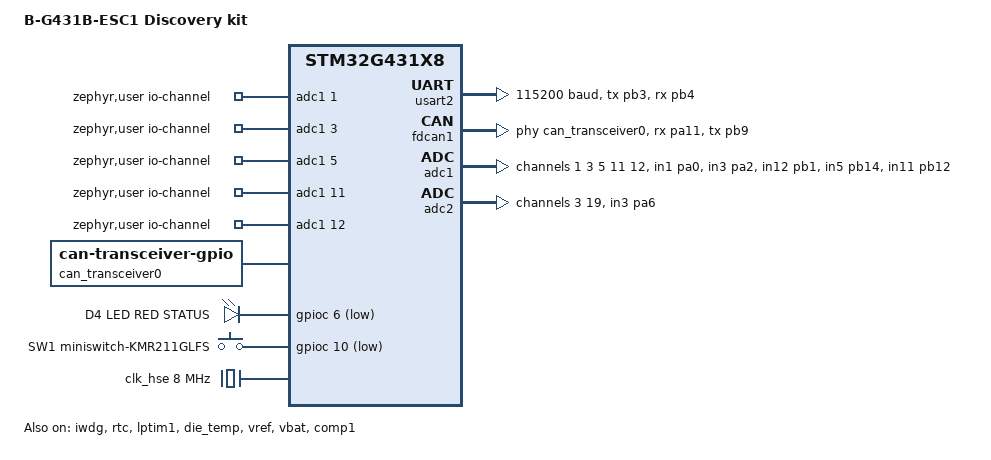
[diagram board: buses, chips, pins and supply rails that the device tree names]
/*
 * Copyright (c) 2024 Alexander Kozhinov <ak.alexander.kozhinov@gmail.com>
 * SPDX-License-Identifier: Apache-2.0
 */

/dts-v1/;
#include <st/g4/stm32g431X8.dtsi>
#include <st/g4/stm32g431c(6-8-b)tx-pinctrl.dtsi>
#include <zephyr/dt-bindings/input/input-event-codes.h>

/ {
	model = "B-G431B-ESC1 Discovery kit";
	compatible = "st,b-g431b-esc1";

	chosen {
		zephyr,sram = &sram0;
		zephyr,flash = &flash0;
		zephyr,console = &usart2;
		zephyr,canbus = &fdcan1;
	};

	zephyr,user {
		/* adjust channel number according to pinmux in board.dts */
		io-channels = <&adc1 1>, <&adc1 3>, <&adc1 5>, <&adc1 11>, <&adc1 12>;
	};

	can_transceiver0: can-phy0 {
		/* Generic GPIO controlled CAN transceiver. The board uses TCAN330 device.
		 * Add a specific binding later if required (no dedicated binding present).
		 */
		compatible = "can-transceiver-gpio";
		max-bitrate = <10000000>;
		#phy-cells = <0>;
	};

	leds {
		compatible = "gpio-leds";
		red_status_led: led4 {
			gpios = <&gpioc 6 GPIO_ACTIVE_LOW>;
			label = "D4 LED RED STATUS";
		};
	};

	gpio_keys {
		compatible = "gpio-keys";
		button: button0 {
			label = "SW1 miniswitch-KMR211GLFS";
			gpios = <&gpioc 10 (GPIO_ACTIVE_LOW | GPIO_PULL_UP)>;
			zephyr,code = <INPUT_KEY_0>;
		};
	};

	aliases {
		led0 = &red_status_led;
		sw0 = &button;
		watchdog0 = &iwdg;
		comp1 = &comp1;
		adc1 = &adc1;
		adc2 = &adc2;
		sensor0 = &die_temp;
		sensor1 = &vref;
		sensor2 = &vbat;
	};
};

&clk_hse {
	clock-frequency = <DT_FREQ_M(8)>;
	status = "okay";
};

&clk_lsi {
	status = "okay";
};

&pll {
	div-m = <1>;
	mul-n = <40>;
	div-p = <2>;
	div-q = <2>;
	div-r = <2>;
	clocks = <&clk_hse>;
	status = "okay";
};

&rcc {
	clocks = <&pll>;
	clock-frequency = <DT_FREQ_M(160)>;
	ahb-prescaler = <1>;
	apb1-prescaler = <1>;
	apb2-prescaler = <1>;
};

&iwdg {
	status = "okay";
};

&dma1 {
	status = "okay";
};

&dmamux1 {
	status = "okay";
};

&rtc {
	clocks = <&rcc STM32_CLOCK_BUS_APB1 0x00000400>,
		 <&rcc STM32_SRC_LSI RTC_SEL(2)>;
	status = "okay";
};

&usart2 {
	pinctrl-0 = <&usart2_tx_pb3 &usart2_rx_pb4>;
	pinctrl-names = "default";
	current-speed = <115200>;
	status = "okay";
};

&fdcan1 {
	pinctrl-0 = <&fdcan1_rx_pa11 &fdcan1_tx_pb9>;
	pinctrl-names = "default";
	clocks = <&rcc STM32_CLOCK(APB1, 25U)>,
			 <&rcc STM32_SRC_PLL_Q FDCAN_SEL(1)>;
	phys = <&can_transceiver0>;
	status = "okay";
};

stm32_lp_tick_source: &lptim1 {
	clocks = <&rcc STM32_CLOCK_BUS_APB1 0x80000000>,
	<&rcc STM32_SRC_LSI LPTIM1_SEL(1)>;
	status = "okay";
};

&die_temp {
	status = "okay";
};

&vref {
	status = "okay";
};

&vbat {
	status = "okay";
};

&pinctrl {
	/omit-if-no-ref/ comp1_p_in0_pa1: comp1_p_in0_pa1 {
		pinmux = <STM32_PINMUX('A', 1, ANALOG)>;
	};

	/omit-if-no-ref/ comp1_p_in1_pb1: comp1_p_in1_pb1 {
		pinmux = <STM32_PINMUX('B', 1, ANALOG)>;
	};
};

&comp1 {
	status = "okay";
	pinctrl-0 = <&comp1_p_in0_pa1>;
	pinctrl-names = "default";
	hysteresis = "NONE";
	positive-input = "IN0";
	negative-input = "VREF_INT_1_4";
	invert-output = "INVERTED";
	// st,blank-sel = "NONE";
	// st,lock-enable;
	// st,miller-effect-hold-enable;
};

&adc1 {
	dmas = <&dmamux1 0 5
		(
			STM32_DMA_MODE_CYCLIC |
			STM32_DMA_PERIPH_TO_MEMORY |
			STM32_DMA_PERIPH_NO_INC |
			STM32_DMA_PERIPH_16BITS |
			STM32_DMA_MEM_INC |
			STM32_DMA_MEM_16BITS |
			STM32_DMA_PRIORITY_VERY_HIGH
		)
		>;
	dma-names = "dmamux";

	pinctrl-0 = <
		&adc1_in1_pa0	/* bus_voltage */
		&adc1_in3_pa2	/* OpAmp1 Out - channel U shunt */
		&adc1_in12_pb1	/* OpAmp3 Out - channel W shunt */
		&adc1_in5_pb14	/* temperature */
		&adc1_in11_pb12	/* potentiometer */
		>;
	pinctrl-names = "default";
	st,adc-clock-source = "SYNC";
	st,adc-prescaler = <4>;
	st,adc-oversampler = "OVERSAMPLER_NONE";

	#address-cells = <1>;
	#size-cells = <0>;

	status = "okay";

	channel@1 {
		reg = <1>;
		zephyr,gain = "ADC_GAIN_1";
		zephyr,reference = "ADC_REF_INTERNAL";
		zephyr,acquisition-time = <ADC_ACQ_TIME(ADC_ACQ_TIME_TICKS, 48)>;
		zephyr,resolution = <12>;
		zephyr,vref-mv = <3300>;
	};

	channel@3 {
		reg = <3>;
		zephyr,gain = "ADC_GAIN_1";
		zephyr,reference = "ADC_REF_INTERNAL";
		zephyr,acquisition-time = <ADC_ACQ_TIME(ADC_ACQ_TIME_TICKS, 3)>;
		zephyr,resolution = <12>;
		zephyr,vref-mv = <3300>;
	};

	channel@5 {
		reg = <5>;
		zephyr,gain = "ADC_GAIN_1";
		zephyr,reference = "ADC_REF_INTERNAL";
		zephyr,acquisition-time = <ADC_ACQ_TIME(ADC_ACQ_TIME_TICKS, 48)>;
		zephyr,resolution = <12>;
		zephyr,vref-mv = <3300>;
	};

	channel@b {
		reg = <11>;
		zephyr,gain = "ADC_GAIN_1";
		zephyr,reference = "ADC_REF_INTERNAL";
		zephyr,acquisition-time = <ADC_ACQ_TIME(ADC_ACQ_TIME_TICKS, 48)>;
		zephyr,resolution = <12>;
		zephyr,vref-mv = <3300>;
	};

	channel@c {
		reg = <12>;
		zephyr,gain = "ADC_GAIN_1";
		zephyr,reference = "ADC_REF_INTERNAL";
		zephyr,acquisition-time = <ADC_ACQ_TIME(ADC_ACQ_TIME_TICKS, 3)>;
		zephyr,resolution = <12>;
		zephyr,vref-mv = <3300>;
	};
};

&adc2 {
	dmas = <&dmamux1 0 5
		(
			STM32_DMA_MODE_CYCLIC |
			STM32_DMA_PERIPH_TO_MEMORY |
			STM32_DMA_PERIPH_NO_INC |
			STM32_DMA_PERIPH_16BITS |
			STM32_DMA_MEM_INC |
			STM32_DMA_MEM_16BITS |
			STM32_DMA_PRIORITY_VERY_HIGH
		)
		>;
	dma-names = "dmamux";

	pinctrl-0 = <
		&adc2_in3_pa6	/* OpAmp2 Out - channel V shunt */
		>;
	pinctrl-names = "default";
	st,adc-clock-source = "SYNC";
	st,adc-prescaler = <4>;
	st,adc-oversampler = "OVERSAMPLER_NONE";

	#address-cells = <1>;
	#size-cells = <0>;

	status = "okay";

	channel@3 {
		reg = <3>;
		zephyr,gain = "ADC_GAIN_1";
		zephyr,reference = "ADC_REF_INTERNAL";
		zephyr,acquisition-time = <ADC_ACQ_TIME(ADC_ACQ_TIME_TICKS, 3)>;
		zephyr,resolution = <12>;
		zephyr,vref-mv = <3300>;
	};

	/* OpAmp3 Out - ADC2_IN_VPOPAMP3 (VPOPAMP3) */
	channel@13 {
		reg = <19>;
		zephyr,gain = "ADC_GAIN_1";
		zephyr,reference = "ADC_REF_INTERNAL";
		zephyr,acquisition-time = <ADC_ACQ_TIME(ADC_ACQ_TIME_TICKS, 3)>;
		zephyr,resolution = <12>;
		zephyr,vref-mv = <3300>;
	};
};
